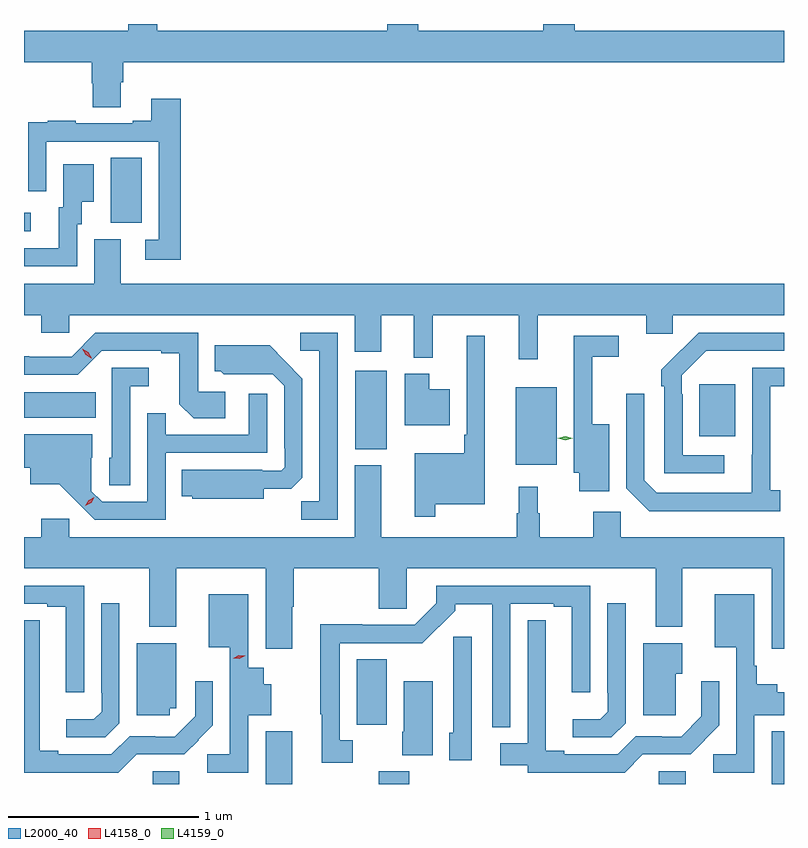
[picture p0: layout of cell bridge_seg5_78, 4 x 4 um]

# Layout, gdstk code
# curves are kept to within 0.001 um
import gdstk
lib = gdstk.Library(unit=1e-6, precision=1e-09)
def R(c, l, rs):  # rectangles x0, y0, x1, y1
    for r in rs: c.add(gdstk.rectangle(r[:2], r[2:], *l))
def P(c, l, *ps):  # polygons
    for p in ps: c.add(gdstk.Polygon(p, *l))
L2000_40 = (2000, 40)
L4158_0 = (4158, 0)
L4159_0 = (4159, 0)

bridge_seg5_78 = lib.new_cell('bridge_seg5_78')
R(bridge_seg5_78, L2000_40, [(131.174,883.596,131.314,883.663), (131.768,883.596,131.908,883.873), (132.364,883.596,132.524,883.663), (133.838,883.596,133.978,883.663), (134.432,883.596,134.496,883.873), (132.248,883.908,132.406,884.252), (133.085,885.275,133.3,885.685), (132.239,885.359,132.406,885.772), (134.051,885.425,134.239,885.7), (130.496,885.524,130.874,885.658), (130.496,886.506,130.531,886.602), (130.952,886.549,131.116,886.892)])
P(bridge_seg5_78, L2000_40, [(130.496,887.396),(130.853,887.396),(130.853,887.283),(130.858,887.283),(130.858,887.158),(131.005,887.158),(131.005,887.29),(131.018,887.29),(131.018,887.396),(134.496,887.396),(134.496,887.56),(133.394,887.56),(133.394,887.596),(133.229,887.596),(133.229,887.56),(132.572,887.56),(132.572,887.596),(132.407,887.596),(132.407,887.56),(131.196,887.56),(131.196,887.596),(131.045,887.596),(131.045,887.56),(130.496,887.56)],
  [(131.321,887.203),(131.165,887.203),(131.165,887.086),(131.069,887.086),(131.069,887.073),(130.769,887.073),(130.769,887.086),(130.621,887.086),(130.621,887.079),(130.519,887.079),(130.519,886.97),(130.518,886.97),(130.518,886.716),(130.614,886.716),(130.614,886.977),(131.205,886.977),(131.205,886.461),(131.133,886.461),(131.133,886.356),(131.321,886.356)],
  [(130.776,886.542),(130.801,886.542),(130.801,886.661),(130.864,886.661),(130.864,886.858),(130.703,886.858),(130.703,886.632),(130.679,886.632),(130.679,886.416),(130.496,886.416),(130.496,886.32),(130.776,886.32)],
  [(133.199,886.064),(133.772,886.064),(133.772,885.966),(133.911,885.966),(133.911,886.064),(134.496,886.064),(134.496,886.228),(131.005,886.228),(131.005,886.464),(130.865,886.464),(130.865,886.228),(130.496,886.228),(130.496,886.064),(130.588,886.064),(130.588,885.971),(130.734,885.971),(130.734,886.064),(132.236,886.064),(132.236,885.87),(132.376,885.87),(132.376,886.064),(132.548,886.064),(132.548,885.839),(132.647,885.839),(132.647,886.064),(133.1,886.064),(133.1,885.831),(133.199,885.831)],
  [(134.182,885.327),(133.962,885.327),(133.962,885.647),(133.959,885.647),(133.959,885.747),(134.088,885.876),(134.496,885.876),(134.496,885.972),(134.048,885.972),(133.851,885.777),(133.851,885.689),(133.866,885.689),(133.866,885.231),(134.182,885.231)],
  [(132.147,885.972),(131.949,885.972),(131.949,885.876),(132.051,885.876),(132.051,885.083),(131.956,885.083),(131.956,884.988),(132.147,884.988)],
  [(131.554,885.66),(131.412,885.66),(131.412,885.972),(130.872,885.972),(130.746,885.846),(130.524,885.846),(130.524,885.848),(130.496,885.848),(130.496,885.75),(130.779,885.75),(130.905,885.876),(131.219,885.876),(131.219,885.864),(131.313,885.864),(131.313,885.596),(131.389,885.52),(131.554,885.52)],
  [(132.661,885.068),(132.922,885.068),(132.922,885.955),(132.825,885.955),(132.825,885.433),(132.813,885.433),(132.813,885.337),(132.552,885.337),(132.552,885.003),(132.661,885.003)],
  [(133.576,885.49),(133.487,885.49),(133.487,885.846),(133.627,885.846),(133.627,885.954),(133.389,885.954),(133.389,885.233),(133.418,885.233),(133.418,885.138),(133.576,885.138)],
  [(131.758,885.149),(131.902,885.149),(131.961,885.208),(131.961,885.73),(131.789,885.904),(131.501,885.904),(131.501,885.768),(131.532,885.768),(131.548,885.752),(131.805,885.753),(131.865,885.693),(131.865,885.364),(131.868,885.364),(131.868,885.264),(131.85,885.246),(131.75,885.246),(131.75,885.25),(131.326,885.25),(131.326,885.11),(131.382,885.11),(131.382,885.098),(131.758,885.098)],
  [(131.055,885.689),(131.152,885.689),(131.152,885.786),(130.959,885.786),(130.959,885.312),(130.944,885.312),(130.944,885.169),(131.055,885.169)],
  [(134.476,885.142),(134.424,885.142),(134.424,885.69),(134.496,885.69),(134.496,885.786),(134.328,885.786),(134.327,885.129),(133.827,885.129),(133.761,885.195),(133.761,885.649),(133.665,885.649),(133.665,885.153),(133.786,885.032),(134.476,885.032)],
  [(132.736,885.673),(132.628,885.673),(132.628,885.754),(132.5,885.754),(132.5,885.485),(132.736,885.485)],
  [(131.241,885.339),(131.775,885.339),(131.775,885.649),(131.679,885.649),(131.679,885.435),(131.243,885.435),(131.243,885.548),(131.145,885.548),(131.145,885.081),(130.908,885.081),(130.851,885.138),(130.851,885.312),(130.855,885.312),(130.855,885.436),(130.496,885.436),(130.496,885.26),(130.529,885.26),(130.529,885.173),(130.681,885.173),(130.868,884.988),(131.241,884.988)],
  [(131.908,884.53),(131.916,884.53),(131.916,884.732),(132.364,884.732),(132.364,884.518),(132.51,884.518),(132.51,884.732),(133.82,884.732),(133.82,884.423),(133.96,884.423),(133.96,884.732),(134.432,884.732),(134.432,884.307),(134.496,884.307),(134.496,884.896),(133.638,884.896),(133.638,885.028),(133.492,885.028),(133.492,884.896),(133.21,884.896),(133.21,885.02),(133.2,885.02),(133.2,885.16),(133.1,885.16),(133.1,885.02),(133.089,885.02),(133.089,884.896),(132.376,884.896),(132.376,885.274),(132.236,885.274),(132.236,884.896),(130.734,884.896),(130.734,884.992),(130.588,884.992),(130.588,884.896),(130.496,884.896),(130.496,884.732),(131.156,884.732),(131.156,884.423),(131.296,884.423),(131.296,884.732),(131.768,884.732),(131.768,884.307),(131.908,884.307)],
  [(132.226,883.827),(132.159,883.827),(132.159,884.337),(132.592,884.336),(132.766,884.509),(132.766,884.543),(132.96,884.543),(132.96,883.895),(133.056,883.895),(133.056,884.544),(133.283,884.544),(133.283,884.529),(133.379,884.529),(133.379,884.079),(133.476,884.079),(133.476,884.64),(132.666,884.64),(132.666,884.547),(132.552,884.433),(132.275,884.433),(132.275,884.438),(132.056,884.438),(132.056,883.964),(132.062,883.964),(132.062,883.707),(132.226,883.707)],
  [(130.812,884.64),(130.496,884.64),(130.496,884.544),(130.619,884.544),(130.619,884.529),(130.715,884.529),(130.715,884.079),(130.812,884.079)],
  [(134.34,883.958),(134.496,883.958),(134.496,884.08),(134.461,884.08),(134.461,884.122),(134.353,884.122),(134.353,884.218),(134.34,884.218),(134.34,884.596),(134.132,884.596),(134.132,884.315),(134.244,884.315),(134.244,883.752),(134.124,883.752),(134.124,883.656),(134.34,883.656)],
  [(131.676,883.958),(131.797,883.958),(131.797,884.122),(131.758,884.122),(131.758,884.209),(131.676,884.209),(131.676,884.596),(131.468,884.596),(131.468,884.315),(131.58,884.315),(131.58,883.752),(131.46,883.752),(131.46,883.656),(131.676,883.656)],
  [(130.998,883.917),(130.998,884.548),(130.902,884.548),(130.902,884.077),(130.905,884.077),(130.905,883.977),(130.864,883.937),(130.719,883.937),(130.719,883.842),(130.923,883.842)],
  [(133.662,883.917),(133.662,884.548),(133.566,884.548),(133.566,884.077),(133.569,884.077),(133.569,883.977),(133.529,883.937),(133.383,883.937),(133.383,883.842),(133.587,883.842)],
  [(133.753,883.752),(134.004,883.752),(134.154,883.904),(134.154,884.137),(134.06,884.137),(134.06,883.952),(133.954,883.846),(133.852,883.846),(133.852,883.848),(133.716,883.848),(133.62,883.752),(133.339,883.752),(133.339,883.772),(133.243,883.772),(133.242,884.459),(133.146,884.459),(133.146,883.81),(133.002,883.81),(133.002,883.694),(133.146,883.694),(133.146,883.656),(133.657,883.656)],
  [(131.089,883.752),(131.34,883.752),(131.49,883.904),(131.49,884.137),(131.397,884.137),(131.397,883.953),(131.29,883.846),(131.188,883.846),(131.188,883.848),(131.052,883.848),(130.956,883.752),(130.675,883.752),(130.675,883.772),(130.579,883.772),(130.578,884.459),(130.496,884.459),(130.496,883.656),(130.993,883.656)],
  [(132.852,884.371),(132.756,884.371),(132.756,883.866),(132.734,883.866),(132.734,883.722),(132.852,883.722)],
  [(131.262,883.995),(131.296,883.995),(131.296,884.338),(131.09,884.338),(131.09,883.959),(131.262,883.959)],
  [(133.927,884.177),(133.96,884.177),(133.96,884.338),(133.754,884.338),(133.754,883.959),(133.927,883.959)],
  [(132.646,884.137),(132.494,884.137),(132.494,883.872),(132.488,883.872),(132.488,883.748),(132.646,883.748)])
P(bridge_seg5_78, L4158_0, [(131.63,884.254),(131.597,884.258),(131.596,884.259),(131.597,884.259),(131.627,884.274),(131.66,884.27),(131.661,884.27),(131.66,884.27)],
  [(130.819,885.06),(130.819,885.06),(130.836,885.09),(130.867,885.106),(130.867,885.106),(130.867,885.106),(130.85,885.076),(130.819,885.06)],
  [(130.851,885.836),(130.82,885.855),(130.802,885.888),(130.802,885.888),(130.802,885.888),(130.834,885.869),(130.852,885.836),(130.852,885.836)])
P(bridge_seg5_78, L4159_0, [(133.345,885.406),(133.305,885.416),(133.305,885.416),(133.305,885.416),(133.345,885.426),(133.385,885.416),(133.385,885.415),(133.385,885.415)])

lib.write_gds('bridge_seg5_78.gds')
